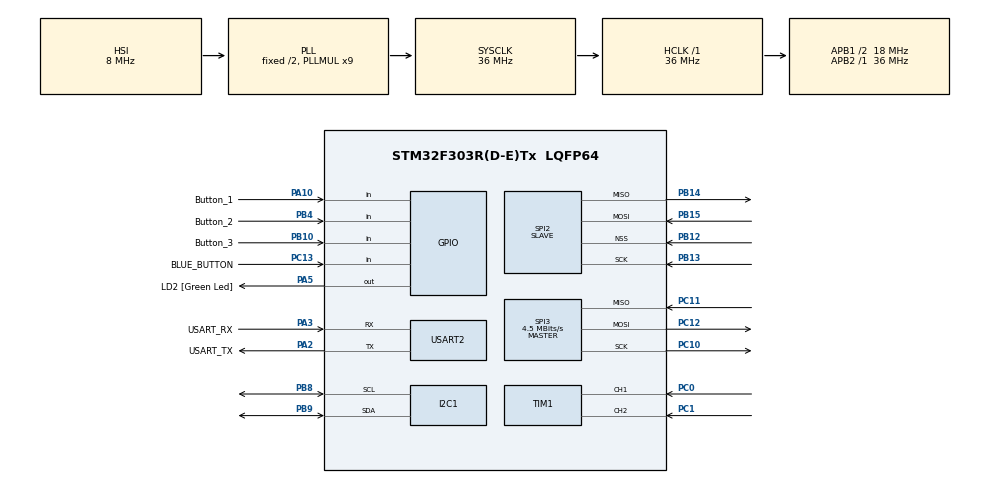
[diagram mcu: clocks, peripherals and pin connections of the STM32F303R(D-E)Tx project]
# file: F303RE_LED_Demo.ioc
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Dma.Request0=SPI2_TX
Dma.Request1=SPI2_RX
Dma.SPI2_RX.1.Direction=DMA_PERIPH_TO_MEMORY
Dma.SPI2_RX.1.Instance=DMA1_Channel4
Dma.SPI2_RX.1.MemDataAlignment=DMA_MDATAALIGN_BYTE
Dma.SPI2_RX.1.MemInc=DMA_MINC_ENABLE
Dma.SPI2_RX.1.Mode=DMA_NORMAL
Dma.SPI2_RX.1.PeriphDataAlignment=DMA_PDATAALIGN_BYTE
Dma.SPI2_RX.1.PeriphInc=DMA_PINC_DISABLE
Dma.SPI2_RX.1.Priority=DMA_PRIORITY_HIGH
Dma.SPI2_TX.0.Direction=DMA_MEMORY_TO_PERIPH
Dma.SPI2_TX.0.Instance=DMA1_Channel5
Dma.SPI2_TX.0.MemDataAlignment=DMA_MDATAALIGN_BYTE
Dma.SPI2_TX.0.MemInc=DMA_MINC_ENABLE
Dma.SPI2_TX.0.Mode=DMA_NORMAL
Dma.SPI2_TX.0.PeriphDataAlignment=DMA_PDATAALIGN_BYTE
Dma.SPI2_TX.0.PeriphInc=DMA_PINC_DISABLE
Dma.SPI2_TX.0.Priority=DMA_PRIORITY_HIGH
I2C1.Timing=0x00201D2B
Mcu.Family=STM32F3
Mcu.Name=STM32F303R(D-E)Tx
Mcu.Package=LQFP64
NVIC.DMA1_Channel4_IRQn=true\:0\:0\:false\:false\:true\:false\:true\:true
NVIC.DMA1_Channel5_IRQn=true\:0\:0\:false\:false\:true\:false\:true\:true
NVIC.I2C1_ER_IRQn=true\:0\:0\:false\:false\:true\:true\:true\:true
NVIC.I2C1_EV_IRQn=true\:0\:0\:false\:false\:true\:true\:true\:true
NVIC.PriorityGroup=NVIC_PRIORITYGROUP_0
NVIC.SPI2_IRQn=true\:0\:0\:false\:false\:true\:true\:true\:true
NVIC.SPI3_IRQn=true\:0\:0\:false\:false\:true\:true\:true\:true
PA10.GPIO_Label=Button_1
PA10.GPIO_PuPd=GPIO_PULLUP
PA10.Signal=GPIO_Input
PA13.GPIO_Label=TMS
PA13.Mode=Serial_Wire
PA13.Signal=SYS_JTMS-SWDIO
PA14.GPIO_Label=TCK
PA14.Mode=Serial_Wire
PA14.Signal=SYS_JTCK-SWCLK
PA2.GPIO_Label=USART_TX
PA2.GPIO_Mode=GPIO_MODE_AF_PP
PA2.GPIO_PuPd=GPIO_NOPULL
PA2.GPIO_Speed=GPIO_SPEED_FREQ_LOW
PA2.Mode=Asynchronous
PA2.Signal=USART2_TX
PA3.GPIO_Label=USART_RX
PA3.GPIO_Mode=GPIO_MODE_AF_PP
PA3.GPIO_PuPd=GPIO_NOPULL
PA3.GPIO_Speed=GPIO_SPEED_FREQ_LOW
PA3.Mode=Asynchronous
PA3.Signal=USART2_RX
PA5.GPIO_Label=LD2 [Green Led]
PA5.GPIO_Mode=GPIO_MODE_OUTPUT_PP
PA5.GPIO_PuPd=GPIO_NOPULL
PA5.GPIO_Speed=GPIO_SPEED_FREQ_LOW
PA5.Signal=GPIO_Output
PB10.GPIO_Label=Button_3
PB10.GPIO_PuPd=GPIO_PULLUP
PB10.Signal=GPIO_Input
PB12.Mode=NSS_Signal_Hard_Input
PB12.Signal=SPI2_NSS
PB13.Mode=Full_Duplex_Slave
PB13.Signal=SPI2_SCK
PB14.Mode=Full_Duplex_Slave
PB14.Signal=SPI2_MISO
PB15.Mode=Full_Duplex_Slave
PB15.Signal=SPI2_MOSI
PB3.GPIO_Label=SWO
PB3.Signal=SYS_JTDO-TRACESWO
PB4.GPIO_Label=Button_2
PB4.GPIO_PuPd=GPIO_PULLUP
PB4.Signal=GPIO_Input
PB8.GPIO_FM8=__NULL
PB8.GPIO_Pu=GPIO_PULLUP
PB8.GPIO_Speed=GPIO_SPEED_FREQ_HIGH
PB8.Mode=I2C
PB8.Signal=I2C1_SCL
PB9.GPIO_Pu=GPIO_PULLUP
PB9.Mode=I2C
PB9.Signal=I2C1_SDA
PC0.Signal=S_TIM1_CH1
PC1.Signal=S_TIM1_CH2
PC10.Mode=Full_Duplex_Master
PC10.Signal=SPI3_SCK
PC11.Mode=Full_Duplex_Master
PC11.Signal=SPI3_MISO
PC12.Mode=Full_Duplex_Master
PC12.Signal=SPI3_MOSI
PC13.GPIO_Label=BLUE_BUTTON
PC13.Signal=GPIO_Input
PC14-OSC32_IN.Mode=LSE-External-Oscillator
PC14-OSC32_IN.Signal=RCC_OSC32_IN
PC15-OSC32_OUT.Mode=LSE-External-Oscillator
PC15-OSC32_OUT.Signal=RCC_OSC32_OUT
PF0-OSC_IN.Mode=HSE-External-Clock-Source
PF0-OSC_IN.Signal=RCC_OSC_IN
PF1-OSC_OUT.Signal=RCC_OSC_OUT
ProjectManager.HeapSize=0x200
ProjectManager.StackSize=0x400
ProjectManager.TargetToolchain=STM32CubeIDE
RCC.AHBFreq_Value=36000000
RCC.APB1CLKDivider=RCC_HCLK_DIV2
RCC.APB1Freq_Value=18000000
RCC.APB1TimFreq_Value=36000000
RCC.APB2Freq_Value=36000000
RCC.APB2TimFreq_Value=36000000
RCC.CortexFreq_Value=36000000
RCC.HCLKFreq_Value=36000000
RCC.HSE_VALUE=8000000
RCC.HSI_VALUE=8000000
RCC.PLLM=8
RCC.PLLMUL=RCC_PLL_MUL9
RCC.PLLN=336
RCC.PLLP=RCC_PLLP_DIV4
RCC.PLLQ=7
RCC.RCC_PLLsource_Clock_Source_FROM_HSE=RCC_HSE_PREDIV_DIV2
RCC.SYSCLKFreq_VALUE=36000000
RCC.SYSCLKSourceVirtual=RCC_SYSCLKSOURCE_PLLCLK
RCC.USBFreq_Value=36000000
SH.S_TIM1_CH1.0=TIM1_CH1,Encoder_Interface
SH.S_TIM1_CH2.0=TIM1_CH2,Encoder_Interface
SPI2.DataSize=SPI_DATASIZE_8BIT
SPI2.Direction=SPI_DIRECTION_2LINES
SPI2.Mode=SPI_MODE_SLAVE
SPI2.VirtualNSS=VM_NSSHARD
SPI2.VirtualType=VM_SLAVE
SPI3.BaudRatePrescaler=SPI_BAUDRATEPRESCALER_4
SPI3.CalculateBaudRate=4.5 MBits/s
SPI3.DataSize=SPI_DATASIZE_8BIT
SPI3.Direction=SPI_DIRECTION_2LINES
SPI3.Mode=SPI_MODE_MASTER
SPI3.VirtualType=VM_MASTER
TIM1.EncoderMode=TIM_ENCODERMODE_TI2
TIM1.IC1Filter=15
TIM1.IC2Filter=15
USART2.VirtualMode-Asynchronous=VM_ASYNC
board=NUCLEO-F303RE

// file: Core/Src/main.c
/* USER CODE BEGIN Header */
/**
  ******************************************************************************
  * @file           : main.c
  * @brief          : Main program body
  ******************************************************************************
  * @attention
  *
  * Copyright (c) 2025 STMicroelectronics.
  * All rights reserved.
  *
  * This software is licensed under terms that can be found in the LICENSE file
  * in the root directory of this software component.
  * If no LICENSE file comes with this software, it is provided AS-IS.
  *
  ******************************************************************************
  */
/* USER CODE END Header */
#include "main.h"

/* USER CODE BEGIN Includes */
#include "PCA9685.h"
/* USER CODE END Includes */

/* USER CODE BEGIN PD */
#define PCA9685_MODE1         0x00
#define PCA9685_ALL_LED_ON_L  0xFA
#define PCA9685_ALL_LED_ON_H  0xFB
#define PCA9685_ALL_LED_OFF_L 0xFC
#define PCA9685_ALL_LED_OFF_H 0xFD

#define LED0_ON_H 0x07
#define LED0_OFF_H 0x09

#define SPI2_BUFFER_SIZE 8
/* USER CODE END PD */

I2C_HandleTypeDef hi2c1;

SPI_HandleTypeDef hspi2;
SPI_HandleTypeDef hspi3;
DMA_HandleTypeDef hdma_spi2_tx;
DMA_HandleTypeDef hdma_spi2_rx;

TIM_HandleTypeDef htim1;

UART_HandleTypeDef huart2;

void SystemClock_Config(void);
static void MX_GPIO_Init(void);
static void MX_DMA_Init(void);
static void MX_USART2_UART_Init(void);
static void MX_SPI2_Init(void);
static void MX_SPI3_Init(void);
static void MX_I2C1_Init(void);
static void MX_TIM1_Init(void);
/* USER CODE BEGIN PFP */
void I2C_Scan(I2C_HandleTypeDef *hi2c);
/* USER CODE END PFP */

/* USER CODE BEGIN 0 */
uint8_t SPI_data_out;
uint8_t SPI_data_in;
uint8_t SPI_RX_buf[SPI2_BUFFER_SIZE];
uint8_t SPI_RX_ptr = 0;
uint8_t SPI_RX_msg_len = 0;
uint8_t SPI_RX_msg_ready = 0;

uint16_t SPI_msg_count = 0;

HAL_StatusTypeDef SPI_status;

hPCA9685 hpca;
LED_ConfigTypeDef LED_config;

// we consider max 5 RGB LEDs and max 15 LEDs overall
float LED_Hue[5] = {0,0,0,0,0};
float LED_Saturation[5] = {0,0,0,0,0};
uint16_t LED_Intensity[16] = {0,0,0,0,0,0,0,0,0,0,0,0,0,0,0};

LED_RGBTypeDef RGB_from_ESP;
LED_HSVTypeDef HSV_from_RGB_from_ESP;
LED_RGBTypeDef RGB_from_HSV_from_RGB_from_ESP;

// HMI
#define NUM_BUTTONS 3
#define DEBOUNCE_SAMPLES 10
#define DIM_DELTA 40

GPIO_TypeDef* button_ports[NUM_BUTTONS] = {
		Button_1_GPIO_Port,
		Button_2_GPIO_Port,
		Button_3_GPIO_Port
};
uint16_t button_pins[NUM_BUTTONS] = {
		Button_1_Pin,
		Button_2_Pin,
		Button_3_Pin
};

// selected LED id - used in some button bindings
uint8_t selected_LED_id = 0;

/// button mode settings
/// 1 - toggle all LEDs
/// 2 - toggle LED {ARG}
/// 3 - toggle selected LED
/// 4 - select next LED
/// 5 - select prev LED
/// 6 - switch all LEDs mode
/// 7 - switch LED {ARG} mode
/// 8 - switch selected LED mode

uint8_t button_action[NUM_BUTTONS] = {
		3,
		4,
		5
};

/// arguments for button_action
uint8_t button_action_ARG[NUM_BUTTONS] = {
		0, 0, 0
};

/// Rotary encoder mode settings:
/// 1 - dim all LEDs
/// 2 - dim LED {ARG}
/// 3 - dim selected LED
uint8_t encoder_action = 3;
uint8_t encoder_action_arg = 0;
int16_t encoder_count_last = 0;

GPIO_PinState btn_state[NUM_BUTTONS];  // stable state
uint8_t btn_counter[NUM_BUTTONS]; // debounce counter

uint8_t start_sequence_flag = 0;

LED_HSVTypeDef RGB_8bit_to_HSV(uint8_t r, uint8_t g, uint8_t b)
{
	LED_HSVTypeDef hsv;
	hsv.h = hsv.s = hsv.v = -0.1f;
	uint8_t max_rgb = r;
	uint8_t which_max = 1; // 1 - RED, 2 - GREEN, 3 - BLUE
	if(r >= g && r >= b)
	{
		max_rgb = r;
		which_max = 1;
	}
	if(g >= b && g >= r)
	{
		max_rgb = g;
		which_max = 2;
	}
	if(b >= r && b >= g)
	{
		max_rgb = b;
		which_max = 3;
	}

	uint8_t min_rgb = 0;
	if(r <= g && r <= b)
		min_rgb = r;
	if(g <= r && g <= b)
		min_rgb = g;
	if(b <= r && b <= g)
		min_rgb = b;

	// due to using 8 bits
	float v = max_rgb/255.0f;
	float s = ((float)(max_rgb-min_rgb))/max_rgb;
	float h = 0.0;

	uint8_t delta = max_rgb - min_rgb;

	if(delta != 0)
		switch (which_max)
		{
			case 1:
				// max is Red
				h = 60*(0+ ((float)(g-b))/delta);
				break;

			case 2:
				//max is Green
				h = 60*(2+ ((float)(b-r))/delta);
				break;

			case 3:
				//max is Blue
				h = 60*(4+ ((float)(r-g))/delta);
				break;

			default:
				h = 0.0;
				break;
		}
	else
		h = 0;
	while(h < 0)
		h += 360.0f;
	while(h > 360.0f)
		h -= 360.0f;
	hsv.h = h;
	hsv.s = s;
	hsv.v = v;
	return hsv;
}

LED_RGBTypeDef HSV_to_RGB_12bit(float h, float s, float v)
{
	LED_RGBTypeDef rgb;
	float c = v*s;
	h /= 60;
	float h_mod_2 = h;
	while (h_mod_2 > 2)
		h_mod_2 -= 2;
	h_mod_2 -= 1;
	if(h_mod_2 < 0)
		h_mod_2 *= -1.0f;
	float x = c*(1-h_mod_2);

	float r,g,b;
	if(h >= 0 && h < 1)
	{
		r = c;	g = x;	b = 0;
	}
	else if(h >= 1 && h < 2)
	{
		r = x;	g = c;	b = 0;
	}
	else if(h >= 2 && h < 3)
	{
		r = 0;	g = c;	b = x;
	}
	else if(h >= 3 && h < 4)
	{
		r = 0;	g = x;	b = c;
	}
	else if(h >= 4 && h < 5)
	{
		r = x;	g = 0;	b = c;
	}
	else if(h >= 5 && h < 6)
	{
		r = c;	g = 0;	b = x;
	}
	else
	{
		r = 0; g = 0; b = 0;
	}
	float m = v - c;
	rgb.r = (uint16_t)((r + m)*4095);
	rgb.g = (uint16_t)((g + m)*4095);
	rgb.b = (uint16_t)((b + m)*4095);

	return rgb;
}

void Set_LED_Intensity(uint8_t id, uint16_t intensity)
{
	LED_Intensity[id] = intensity;
	if(LED_config.LED_Pins[id] == -1)
		return;
	if(id >= LED_config.RGB_LED_Count)
	{
		// greyscale LED
		PCA9685_PWM_write(&hpca, LED_config.LED_Pins[id], intensity);
		return;
	}
	// RGB LED
	LED_RGBTypeDef rgb = Get_LED_RGB(id);
	PCA9685_RGB_write(&hpca, LED_config.LED_Pins[id], rgb.r, rgb.g, rgb.b);
}

void Set_LED_Color(uint8_t id, uint8_t r, uint8_t g, uint8_t b)
{
	if(id > 5)
		return;

	// Convert and set to HSV values
	LED_HSVTypeDef hsv = RGB_8bit_to_HSV(r, g, b);
	LED_Hue[id] = hsv.h;
	LED_Saturation[id] = hsv.s;
	LED_Intensity[id] = (uint16_t)(hsv.v*4095);

	// Write to pins
	PCA9685_RGB_write(&hpca, LED_config.LED_Pins[id], ((uint16_t)r)*4, ((uint16_t)g)*4, ((uint16_t)b)*4);
}

void LED_Reset_All()
{
	for (uint8_t i = 0; i < 16; ++i)
	{
		LED_Intensity[i] = 0;
		PCA9685_LEDX_off(&hpca, i);
	}
	for (uint8_t i = 0; i < 5; i++)
	{
		LED_Hue[i] = 0;
		LED_Saturation[i] = 0;
	}
}

void LED_Set_All()
{
	uint8_t led_count = LED_config.Greyscale_LED_Count + LED_config.RGB_LED_Count;
	for (uint8_t i = 0; i < led_count; ++i)
		Set_LED_Intensity(i, 4095);
}

void LED_Toggle_All()
{
	// loop through all LEDs, if at least one is on, turn all off, if all are off, turn each on
	int num_leds = LED_config.Greyscale_LED_Count + LED_config.RGB_LED_Count;
	for (int i = 0; i < num_leds; ++i)
	{
		if(LED_Intensity[i] > 0)
		{
			LED_Reset_All();
			return;
		}
	}
	LED_Set_All();
}

void LED_Toggle(uint8_t id)
{
	if(LED_Intensity[id] == 0)
		Set_LED_Intensity(id, 4095);
	else
		Set_LED_Intensity(id, 0);
}

void LED_Dim(uint8_t id, int16_t delta)
{
	int16_t new_intensity = (int16_t)LED_Intensity[id] + delta;
	if(new_intensity > 4095)
		new_intensity = 4095;
	if(new_intensity < 0)
		new_intensity = 0;
	Set_LED_Intensity(id, (uint16_t)new_intensity);
}

void LED_Dim_All(int16_t delta)
{
	uint8_t led_cnt = LED_config.Greyscale_LED_Count + LED_config.RGB_LED_Count;
	for (uint8_t i = 0; i < led_cnt; ++i)
		LED_Dim(i, delta);
}

void Set_LED_Config(uint8_t rgb_count, uint8_t greyscale_count)
{
	// input verification and adjustment
	if(rgb_count > 5)
		rgb_count = 5;
	if(greyscale_count > 16)
		greyscale_count = 16;
	if(3*rgb_count  + greyscale_count > 16)
		greyscale_count = 16 - 3*rgb_count;

	// changing config might make some LEDs unadressable - we want those to be off by default.
	LED_Reset_All();

	LED_config.Greyscale_LED_Count = greyscale_count;
	LED_config.RGB_LED_Count = rgb_count;

	// loop through all RGB LEDs and assign their first pin
	for (uint8_t i = 0; i < rgb_count; ++i)
		LED_config.LED_Pins[i] = i*3;

	// loop through all Greyscale LEDs and assign their pin
	// first Greyscale ID will start after the last RGB LED and end after `greyscale_count` increments
	for (int i = 0; i < greyscale_count; ++i)
		LED_config.LED_Pins[rgb_count+i] = rgb_count*3+i;

	for (uint8_t i = rgb_count+greyscale_count; i <= 15; ++i)
		LED_config.LED_Pins[i] = -1;
}

LED_RGBTypeDef Get_LED_RGB(uint8_t id)
{
	// read Hues, Saturations and Intensity values, convert them to 12 byte RGB values for export
	LED_RGBTypeDef out;
	out.r =out.g = out.b = 0xffff;

	if(id >= LED_config.RGB_LED_Count)
		return out;

	out = HSV_to_RGB_12bit(LED_Hue[id], LED_Saturation[id], LED_Intensity[id]/4095.0);
	return out;
}

void ESP_SPI_Handle_Message(uint8_t* data, uint16_t len)
{
	// determine message code
	uint8_t header = data[0] & 0b11100000;
	switch (header) {
		case 0b00000000:
		{
			// LED on/off message
			uint8_t LED_id = data[0] & 0b00001111;
			uint8_t state = (data[0] & 0b00010000) >> 4;
			Set_LED_Intensity(LED_id, state? 4095:0);
			break;
		}
		case 0b00100000:
		{
			// LED intensity message
			// need 2 more bytes
			uint8_t LED_id = data[0] & 0b00001111;
			uint16_t PWM_val = (data[1] << 4) | (data[2] >> 4);
			Set_LED_Intensity(LED_id, PWM_val);
			break;
		}
		case 0b01000000:
		{
			// LED Color message
			// need 3 more bytes
			uint8_t LED_id = data[0] & 0b00000111;
			uint8_t r = data[1];
			uint8_t g = data[2];
			uint8_t b = data[3];

			Set_LED_Color(LED_id, r, g, b);
			break;
		}
		case 0b01100000:
		{
			// LED configuration message
			// need 1 more byte
			uint8_t RGB_count = (data[1] & 0b11100000)>>5;
			uint8_t Greyscale_count = (data[1] & 0b00011111);
			Set_LED_Config(RGB_count, Greyscale_count);
			// perform start sequence by setting the flag
			start_sequence_flag = 1;
			break;
		}
		default:
			break;
	}
	// indicate received message
	HAL_GPIO_TogglePin(LD2_GPIO_Port, LD2_Pin);
}

void HMI_Select_Next()
{
	if(++selected_LED_id >= LED_config.Greyscale_LED_Count + LED_config.RGB_LED_Count)
		selected_LED_id = 0;
}

void HMI_Select_Prev()
{
	uint8_t led_count = LED_config.Greyscale_LED_Count + LED_config.RGB_LED_Count;
	if(selected_LED_id-- == 0)
		selected_LED_id = led_count-1;
}

void On_Button_Pressed(uint8_t id)
{
	/// button mode settings
	/// 1 - toggle all LEDs
	/// 2 - toggle LED {ARG}
	/// 3 - toggle selected LED
	/// 4 - select next LED
	/// 5 - select prev LED
	/// 6 - switch all LEDs mode
	/// 7 - switch LED {ARG} mode
	/// 8 - switch selected LED mode
	switch (button_action[id]) {
		case 1:
			LED_Toggle_All();
			break;
		case 2:
			// toggle LED specified in button_action_ARG
			LED_Toggle(button_action_ARG[id]);
			break;
		case 3:
			LED_Toggle(selected_LED_id);
			break;
		case 4:
			HMI_Select_Next();
			break;
		case 5:
			HMI_Select_Prev();
			break;
		default:
			LED_Toggle_All();
			break;
	}
}

void On_Button_Changed(uint8_t id, GPIO_PinState state)
{
	if(state == GPIO_PIN_RESET)
		On_Button_Pressed(id);
}

// called after rotation of rotary encoder. If CW -> direction = 1, if CCW -> direction = 0
void On_Rotary_Change(int16_t delta)
{
	if(delta == 0)
		return;
	/// Rotary encoder mode settings:
	/// 1 - dim all LEDs
	/// 2 - dim LED {ARG}
	/// 3 - dim selected LED
	switch(encoder_action)
	{
		case 1:
			LED_Dim_All(delta*DIM_DELTA);
			break;
		case 2:
			LED_Dim(encoder_action_arg, delta*DIM_DELTA);
			break;
		case 3:
			LED_Dim(selected_LED_id, delta*DIM_DELTA);
			break;
		default:
			break;
	}
}

void Handle_HMI()
{
	// handle buttons
	for(uint8_t i = 0; i < NUM_BUTTONS; i++)
	{
		// read inputs
		GPIO_PinState btn_i = HAL_GPIO_ReadPin(button_ports[i], button_pins[i]);

		// look for change
		if(btn_i == btn_state[i])
			btn_counter[i] = 0;
		else if(++btn_counter[i] >= DEBOUNCE_SAMPLES)
		{
			btn_state[i] = btn_i;
			btn_counter[i] = 0;

			// button is pressed, perform action:
			On_Button_Changed(i, btn_i);
		}
	}

	// handle IRC
	int16_t encoder_count_new = __HAL_TIM_GET_COUNTER(&htim1);
	On_Rotary_Change(encoder_count_new - encoder_count_last);
	encoder_count_last = encoder_count_new;
}

void Start_Sequence()
{
	// flash all individual LED pins

	// first flash all RGB pins individually
	for (int i = 0; i < LED_config.RGB_LED_Count; ++i)
	{
		uint8_t rgb_pin_0 = LED_config.LED_Pins[i];
		for (int rgb_pin = 0; rgb_pin < 3; ++rgb_pin)
		{
			PCA9685_LEDX_on(&hpca, rgb_pin_0 + rgb_pin);
			HAL_Delay(300);
			PCA9685_LEDX_off(&hpca, rgb_pin_0 + rgb_pin);
		}
	}
	// then flash all greyscale LEDs
	for (int i = 0; i < LED_config.Greyscale_LED_Count; i++)
	{
		uint8_t grey_pin = LED_config.LED_Pins[LED_config.RGB_LED_Count+i];
		PCA9685_LEDX_on(&hpca, grey_pin);
		HAL_Delay(300);
		PCA9685_LEDX_off(&hpca, grey_pin);
	}

	// send SPI message to indicate finished start sequence
	SPI_data_out = 0x01;
	return;
}

uint8_t Get_Message_Length(uint8_t header)
{
	switch (header)
	{
			case 0b00000000:
			{
				return 1;
			}
			case 0b00100000:
			{
				return 3;
			}
			case 0b01000000:
			{
				return 4;
			}
			case 0b01100000:
			{
				return 2;
			}
			default:
				return 0;
	}
}

void HAL_SPI_ErrorCallback(SPI_HandleTypeDef* hspi)
{
	// here we are
	uint32_t errorCode = hspi->ErrorCode;

	//TODO: RX_Buf(ptr) reset

	SPI_status = HAL_SPI_TransmitReceive_IT(hspi, &SPI_data_out, &SPI_data_in, 1);
	if(SPI_status);
	return;
}

void HAL_SPI_TxRxCpltCallback(SPI_HandleTypeDef* hspi)
{
	SPI_msg_count++;
	if(SPI_RX_msg_ready)
	{
		// we have a problem - we received new message before we could process the previous one
		SPI_data_out = 0xee;
	}
	// find out if this is the first byte of the message
	// if it is, determine the length of incoming bytes
	if(SPI_RX_ptr == 0)
	{
		uint8_t header = SPI_data_in & 0b11100000;
		SPI_RX_msg_len = Get_Message_Length(header);
	}
	SPI_RX_buf[SPI_RX_ptr++] = SPI_data_in;
	if(SPI_RX_ptr >= SPI_RX_msg_len)
	{
		// message is complete and ready to parse
		// reset buffer pointer
		SPI_RX_ptr = 0;
		SPI_RX_msg_ready = 1;
	}
	if (hspi->State != HAL_SPI_STATE_READY)
	{
	    // breakpoint here
		SPI_data_out = 0xee;
	}
	SPI_status = HAL_SPI_TransmitReceive_IT(hspi, &SPI_data_out, &SPI_data_in, 1);
	if(SPI_status);
	return;
}

/* USER CODE END 0 */

int main(void)
{

  /* MCU Configuration--------------------------------------------------------*/

  /* Reset of all peripherals, Initializes the Flash interface and the Systick. */
  HAL_Init();

  /* Configure the system clock */
  SystemClock_Config();

  /* Initialize all configured peripherals */
  MX_GPIO_Init();
  MX_DMA_Init();
  MX_USART2_UART_Init();
  MX_SPI2_Init();
  MX_SPI3_Init();
  MX_I2C1_Init();
  MX_TIM1_Init();
  /* USER CODE BEGIN 2 */

  SPI_data_out = 0x00;
  HAL_SPI_TransmitReceive_IT(&hspi2, &SPI_data_out, &SPI_data_in, 1);

  HAL_StatusTypeDef status = HAL_TIM_Encoder_Start(&htim1, TIM_CHANNEL_ALL);

  uint8_t pca_status = PCA9685_PWM_init(&hpca, &hi2c1, 0x40);
  Set_LED_Config(1, 3);
  /* USER CODE END 2 */

  /* Infinite loop */
  while (1)
  {

    /* USER CODE BEGIN 3 */
	if(start_sequence_flag)
	{
		Start_Sequence();
		start_sequence_flag = 0;
	}

	if(SPI_RX_msg_ready)
	{
		ESP_SPI_Handle_Message(SPI_RX_buf, SPI_RX_msg_len);
		SPI_RX_msg_ready = 0;
	}

	Handle_HMI();
  }
  /* USER CODE END 3 */
}

void SystemClock_Config(void)
{
  RCC_OscInitTypeDef RCC_OscInitStruct = {0};
  RCC_ClkInitTypeDef RCC_ClkInitStruct = {0};
  RCC_PeriphCLKInitTypeDef PeriphClkInit = {0};

  /** Initializes the RCC Oscillators according to the specified parameters
  * in the RCC_OscInitTypeDef structure.
  */
  RCC_OscInitStruct.OscillatorType = RCC_OSCILLATORTYPE_HSI;
  RCC_OscInitStruct.HSIState = RCC_HSI_ON;
  RCC_OscInitStruct.HSICalibrationValue = RCC_HSICALIBRATION_DEFAULT;
  RCC_OscInitStruct.PLL.PLLState = RCC_PLL_ON;
  RCC_OscInitStruct.PLL.PLLSource = RCC_PLLSOURCE_HSI;
  RCC_OscInitStruct.PLL.PLLMUL = RCC_PLL_MUL9;
  RCC_OscInitStruct.PLL.PREDIV = RCC_PREDIV_DIV1;
  if (HAL_RCC_OscConfig(&RCC_OscInitStruct) != HAL_OK)
  {
    Error_Handler();
  }

  /** Initializes the CPU, AHB and APB buses clocks
  */
  RCC_ClkInitStruct.ClockType = RCC_CLOCKTYPE_HCLK|RCC_CLOCKTYPE_SYSCLK
                              |RCC_CLOCKTYPE_PCLK1|RCC_CLOCKTYPE_PCLK2;
  RCC_ClkInitStruct.SYSCLKSource = RCC_SYSCLKSOURCE_PLLCLK;
  RCC_ClkInitStruct.AHBCLKDivider = RCC_SYSCLK_DIV1;
  RCC_ClkInitStruct.APB1CLKDivider = RCC_HCLK_DIV2;
  RCC_ClkInitStruct.APB2CLKDivider = RCC_HCLK_DIV1;

  if (HAL_RCC_ClockConfig(&RCC_ClkInitStruct, FLASH_LATENCY_1) != HAL_OK)
  {
    Error_Handler();
  }
  PeriphClkInit.PeriphClockSelection = RCC_PERIPHCLK_USART2|RCC_PERIPHCLK_I2C1
                              |RCC_PERIPHCLK_TIM1;
  PeriphClkInit.Usart2ClockSelection = RCC_USART2CLKSOURCE_PCLK1;
  PeriphClkInit.I2c1ClockSelection = RCC_I2C1CLKSOURCE_HSI;
  PeriphClkInit.Tim1ClockSelection = RCC_TIM1CLK_HCLK;
  if (HAL_RCCEx_PeriphCLKConfig(&PeriphClkInit) != HAL_OK)
  {
    Error_Handler();
  }
}

static void MX_I2C1_Init(void)
{

  hi2c1.Instance = I2C1;
  hi2c1.Init.Timing = 0x00201D2B;
  hi2c1.Init.OwnAddress1 = 0;
  hi2c1.Init.AddressingMode = I2C_ADDRESSINGMODE_7BIT;
  hi2c1.Init.DualAddressMode = I2C_DUALADDRESS_DISABLE;
  hi2c1.Init.OwnAddress2 = 0;
  hi2c1.Init.OwnAddress2Masks = I2C_OA2_NOMASK;
  hi2c1.Init.GeneralCallMode = I2C_GENERALCALL_DISABLE;
  hi2c1.Init.NoStretchMode = I2C_NOSTRETCH_DISABLE;
  if (HAL_I2C_Init(&hi2c1) != HAL_OK)
  {
    Error_Handler();
  }

  /** Configure Analogue filter
  */
  if (HAL_I2CEx_ConfigAnalogFilter(&hi2c1, I2C_ANALOGFILTER_ENABLE) != HAL_OK)
  {
    Error_Handler();
  }

  /** Configure Digital filter
  */
  if (HAL_I2CEx_ConfigDigitalFilter(&hi2c1, 0) != HAL_OK)
  {
    Error_Handler();
  }

}

static void MX_SPI2_Init(void)
{

  /* SPI2 parameter configuration*/
  hspi2.Instance = SPI2;
  hspi2.Init.Mode = SPI_MODE_SLAVE;
  hspi2.Init.Direction = SPI_DIRECTION_2LINES;
  hspi2.Init.DataSize = SPI_DATASIZE_8BIT;
  hspi2.Init.CLKPolarity = SPI_POLARITY_LOW;
  hspi2.Init.CLKPhase = SPI_PHASE_1EDGE;
  hspi2.Init.NSS = SPI_NSS_HARD_INPUT;
  hspi2.Init.FirstBit = SPI_FIRSTBIT_MSB;
  hspi2.Init.TIMode = SPI_TIMODE_DISABLE;
  hspi2.Init.CRCCalculation = SPI_CRCCALCULATION_DISABLE;
  hspi2.Init.CRCPolynomial = 7;
  hspi2.Init.CRCLength = SPI_CRC_LENGTH_DATASIZE;
  hspi2.Init.NSSPMode = SPI_NSS_PULSE_DISABLE;
  if (HAL_SPI_Init(&hspi2) != HAL_OK)
  {
    Error_Handler();
  }

}

static void MX_SPI3_Init(void)
{

  /* SPI3 parameter configuration*/
  hspi3.Instance = SPI3;
  hspi3.Init.Mode = SPI_MODE_MASTER;
  hspi3.Init.Direction = SPI_DIRECTION_2LINES;
  hspi3.Init.DataSize = SPI_DATASIZE_8BIT;
  hspi3.Init.CLKPolarity = SPI_POLARITY_LOW;
  hspi3.Init.CLKPhase = SPI_PHASE_1EDGE;
  hspi3.Init.NSS = SPI_NSS_SOFT;
  hspi3.Init.BaudRatePrescaler = SPI_BAUDRATEPRESCALER_4;
  hspi3.Init.FirstBit = SPI_FIRSTBIT_MSB;
  hspi3.Init.TIMode = SPI_TIMODE_DISABLE;
  hspi3.Init.CRCCalculation = SPI_CRCCALCULATION_DISABLE;
  hspi3.Init.CRCPolynomial = 7;
  hspi3.Init.CRCLength = SPI_CRC_LENGTH_DATASIZE;
  hspi3.Init.NSSPMode = SPI_NSS_PULSE_ENABLE;
  if (HAL_SPI_Init(&hspi3) != HAL_OK)
  {
    Error_Handler();
  }

}

static void MX_TIM1_Init(void)
{

  TIM_Encoder_InitTypeDef sConfig = {0};
  TIM_MasterConfigTypeDef sMasterConfig = {0};

  htim1.Instance = TIM1;
  htim1.Init.Prescaler = 0;
  htim1.Init.CounterMode = TIM_COUNTERMODE_UP;
  htim1.Init.Period = 65535;
  htim1.Init.ClockDivision = TIM_CLOCKDIVISION_DIV1;
  htim1.Init.RepetitionCounter = 0;
  htim1.Init.AutoReloadPreload = TIM_AUTORELOAD_PRELOAD_DISABLE;
  sConfig.EncoderMode = TIM_ENCODERMODE_TI2;
  sConfig.IC1Polarity = TIM_ICPOLARITY_RISING;
  sConfig.IC1Selection = TIM_ICSELECTION_DIRECTTI;
  sConfig.IC1Prescaler = TIM_ICPSC_DIV1;
  sConfig.IC1Filter = 15;
  sConfig.IC2Polarity = TIM_ICPOLARITY_RISING;
  sConfig.IC2Selection = TIM_ICSELECTION_DIRECTTI;
  sConfig.IC2Prescaler = TIM_ICPSC_DIV1;
  sConfig.IC2Filter = 15;
  if (HAL_TIM_Encoder_Init(&htim1, &sConfig) != HAL_OK)
  {
    Error_Handler();
  }
  sMasterConfig.MasterOutputTrigger = TIM_TRGO_RESET;
  sMasterConfig.MasterOutputTrigger2 = TIM_TRGO2_RESET;
  sMasterConfig.MasterSlaveMode = TIM_MASTERSLAVEMODE_DISABLE;
  if (HAL_TIMEx_MasterConfigSynchronization(&htim1, &sMasterConfig) != HAL_OK)
  {
    Error_Handler();
  }

}

static void MX_USART2_UART_Init(void)
{

  huart2.Instance = USART2;
  huart2.Init.BaudRate = 38400;
  huart2.Init.WordLength = UART_WORDLENGTH_8B;
  huart2.Init.StopBits = UART_STOPBITS_1;
  huart2.Init.Parity = UART_PARITY_NONE;
  huart2.Init.Mode = UART_MODE_TX_RX;
  huart2.Init.HwFlowCtl = UART_HWCONTROL_NONE;
  huart2.Init.OverSampling = UART_OVERSAMPLING_16;
  huart2.Init.OneBitSampling = UART_ONE_BIT_SAMPLE_DISABLE;
  huart2.AdvancedInit.AdvFeatureInit = UART_ADVFEATURE_NO_INIT;
  if (HAL_UART_Init(&huart2) != HAL_OK)
  {
    Error_Handler();
  }

}

static void MX_DMA_Init(void)
{

  /* DMA controller clock enable */
  __HAL_RCC_DMA1_CLK_ENABLE();

  /* DMA interrupt init */
  /* DMA1_Channel4_IRQn interrupt configuration */
  HAL_NVIC_SetPriority(DMA1_Channel4_IRQn, 0, 0);
  HAL_NVIC_EnableIRQ(DMA1_Channel4_IRQn);
  /* DMA1_Channel5_IRQn interrupt configuration */
  HAL_NVIC_SetPriority(DMA1_Channel5_IRQn, 0, 0);
  HAL_NVIC_EnableIRQ(DMA1_Channel5_IRQn);

}

static void MX_GPIO_Init(void)
{
  GPIO_InitTypeDef GPIO_InitStruct = {0};

  /* GPIO Ports Clock Enable */
  __HAL_RCC_GPIOC_CLK_ENABLE();
  __HAL_RCC_GPIOF_CLK_ENABLE();
  __HAL_RCC_GPIOA_CLK_ENABLE();
  __HAL_RCC_GPIOB_CLK_ENABLE();

  /*Configure GPIO pin Output Level */
  HAL_GPIO_WritePin(LD2_GPIO_Port, LD2_Pin, GPIO_PIN_RESET);

  /*Configure GPIO pin : BLUE_BUTTON_Pin */
  GPIO_InitStruct.Pin = BLUE_BUTTON_Pin;
  GPIO_InitStruct.Mode = GPIO_MODE_INPUT;
  GPIO_InitStruct.Pull = GPIO_NOPULL;
  HAL_GPIO_Init(BLUE_BUTTON_GPIO_Port, &GPIO_InitStruct);

  /*Configure GPIO pin : LD2_Pin */
  GPIO_InitStruct.Pin = LD2_Pin;
  GPIO_InitStruct.Mode = GPIO_MODE_OUTPUT_PP;
  GPIO_InitStruct.Pull = GPIO_NOPULL;
  GPIO_InitStruct.Speed = GPIO_SPEED_FREQ_LOW;
  HAL_GPIO_Init(LD2_GPIO_Port, &GPIO_InitStruct);

  /*Configure GPIO pins : Button_3_Pin Button_2_Pin */
  GPIO_InitStruct.Pin = Button_3_Pin|Button_2_Pin;
  GPIO_InitStruct.Mode = GPIO_MODE_INPUT;
  GPIO_InitStruct.Pull = GPIO_PULLUP;
  HAL_GPIO_Init(GPIOB, &GPIO_InitStruct);

  /*Configure GPIO pin : Button_1_Pin */
  GPIO_InitStruct.Pin = Button_1_Pin;
  GPIO_InitStruct.Mode = GPIO_MODE_INPUT;
  GPIO_InitStruct.Pull = GPIO_PULLUP;
  HAL_GPIO_Init(Button_1_GPIO_Port, &GPIO_InitStruct);

}

/* USER CODE BEGIN 4 */
//void I2C_Scan(I2C_HandleTypeDef *hi2c)
//{
//    for (uint8_t addr = 1; addr < 127; addr++)
//    {
//        if (HAL_I2C_IsDeviceReady(hi2c, addr << 1, 2, 10) == HAL_OK)
//        {
//            printf("  Found device at 0x%02X\r\n", addr);
//        }
//    }
//}
/* USER CODE END 4 */

void Error_Handler(void)
{
  __disable_irq();
  while (1)
  {
  }
}
